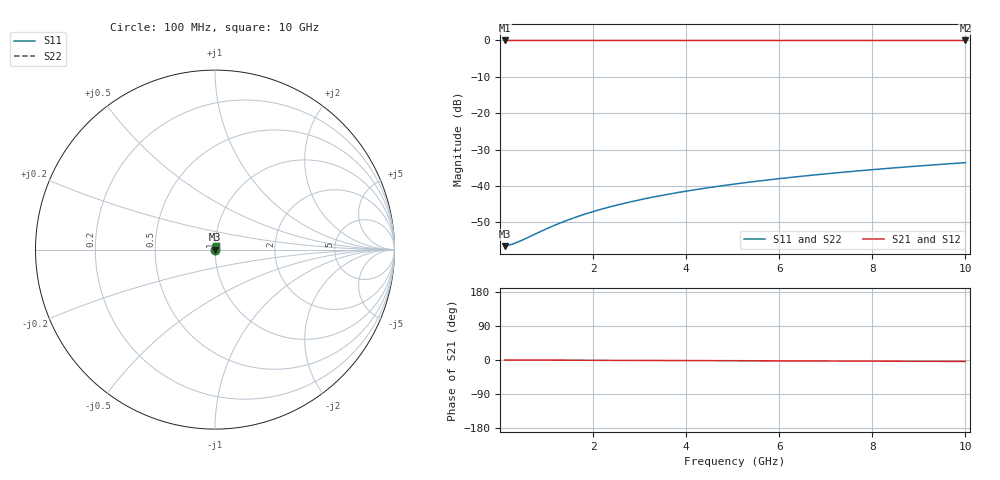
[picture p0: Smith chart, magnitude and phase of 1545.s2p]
# Hz S RI R 50.00
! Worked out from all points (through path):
!   100 points, 100 MHz to 10 GHz, reference 50 ohm
!   highest |S21| = -0.01 dB at 100 MHz (marker M1); lowest = 0.0 dB at 10 GHz (marker M2)
!   lowest |S11| = -56.5 dB at 100 MHz (marker M3), VSWR 1.00, Z = 50.1 + j0.0208 ohm
!   |S11| at or under -10 dB: start of sweep to end of sweep
!   |S22| runs from -56.5 to -33.6 dB; largest |S21 - S12| = 0
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1e8  0.00148 0.000208  0.9985 -0.000663  0.9985 -0.000663  0.00148 0.000208
2e8  0.00149 0.000415  0.9985 -0.00133  0.9985 -0.00133  0.00149 0.000415
3e8  0.00149 0.000623  0.9985 -0.00199  0.9985 -0.00199  0.00149 0.000623
4e8  0.0015 0.000831  0.9985 -0.00265  0.9985 -0.00265  0.0015 0.000831
5e8  0.00151 0.00104  0.9985 -0.00332  0.9985 -0.00332  0.00151 0.00104
9e8  0.00153 0.00187  0.9985 -0.00597  0.9985 -0.00597  0.00153 0.00187
1.2e9  0.00155 0.00249  0.9984 -0.00796  0.9984 -0.00796  0.00155 0.00249
1.5e9  0.00156 0.00311  0.9984 -0.00995  0.9984 -0.00995  0.00156 0.00311
1.8e9  0.00158 0.00374  0.9984 -0.0119  0.9984 -0.0119  0.00158 0.00374
2.1e9  0.00161 0.00436  0.9983 -0.0139  0.9983 -0.0139  0.00161 0.00436
2.5e9  0.00164 0.00519  0.9983 -0.0166  0.9983 -0.0166  0.00164 0.00519
2.9e9  0.00167 0.00602  0.9982 -0.0192  0.9982 -0.0192  0.00167 0.00602
3.4e9  0.00173 0.00706  0.9981 -0.0225  0.9981 -0.0225  0.00173 0.00706
3.8e9  0.00177 0.00789  0.9981 -0.0252  0.9981 -0.0252  0.00177 0.00789
4.2e9  0.00182 0.00871  0.998 -0.0279  0.998 -0.0279  0.00182 0.00871
4.6e9  0.00187 0.00954  0.9979 -0.0305  0.9979 -0.0305  0.00187 0.00954
5.1e9  0.00195 0.0106  0.9978 -0.0338  0.9978 -0.0338  0.00195 0.0106
5.9e9  0.00208 0.0122  0.9975 -0.0391  0.9975 -0.0391  0.00208 0.0122
6.7e9  0.00223 0.0139  0.9973 -0.0444  0.9973 -0.0444  0.00223 0.0139
7.5e9  0.00239 0.0155  0.997 -0.0497  0.997 -0.0497  0.00239 0.0155
8.4e9  0.0026 0.0174  0.9966 -0.0557  0.9966 -0.0557  0.0026 0.0174
1e10  0.00302 0.0207  0.9959 -0.0663  0.9959 -0.0663  0.00302 0.0207
